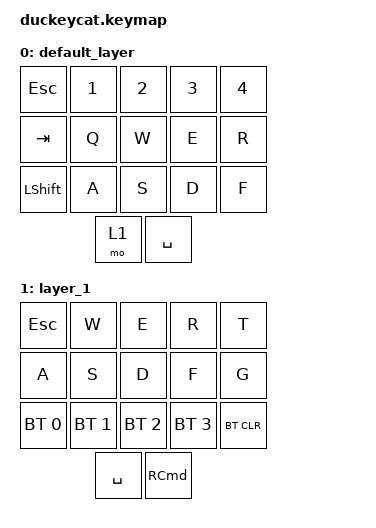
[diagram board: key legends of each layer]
#include <behaviors.dtsi>
#include <dt-bindings/zmk/bt.h>
#include <dt-bindings/zmk/keys.h>




/ {
    keymap {
        compatible = "zmk,keymap";

        default_layer {

            bindings = <
&kp ESC &kp NUMBER_1  &kp NUMBER_2 &kp NUMBER_3 &kp NUMBER_4
&kp TAB  &kp Q &kp W &kp E &kp R
&kp LSHIFT  &kp A &kp S &kp D &kp F
                  &mo 1 &kp SPACE
            >;
        };


        layer_1 {

            bindings = <
&kp ESC &kp W &kp E &kp R &kp T
&kp A &kp S &kp D &kp F &kp G
&bt BT_SEL 0 &bt BT_SEL 1 &bt BT_SEL 2 &bt BT_SEL 3 &bt BT_CLR
                  &kp SPACE &kp RIGHT_COMMAND
            >;
        };
    };
};




